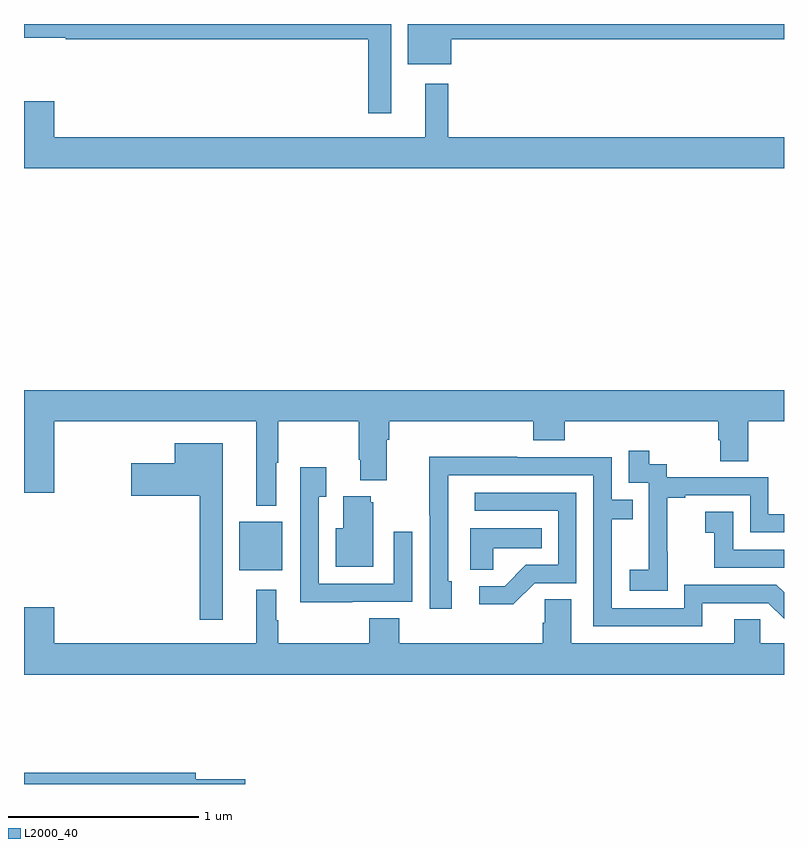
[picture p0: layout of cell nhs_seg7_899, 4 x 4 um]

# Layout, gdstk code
import gdstk
lib = gdstk.Library(unit=1e-6, precision=1e-09)
def R(c, l, rs):  # rectangles x0, y0, x1, y1
    for r in rs: c.add(gdstk.rectangle(r[:2], r[2:], *l))
def P(c, l, *ps):  # polygons
    for p in ps: c.add(gdstk.Polygon(p, *l))
L2000_40 = (2000, 40)

nhs_seg7_899 = lib.new_cell('nhs_seg7_899')
R(nhs_seg7_899, L2000_40, [(178.133,1041.125,178.36,1041.379)])
P(nhs_seg7_899, L2000_40, [(178.933,1044),(177,1044),(177,1043.928),(177.22,1043.928),(177.22,1043.92),(178.812,1043.92),(178.812,1043.529),(178.933,1043.529)],
  [(179.248,1043.92),(181,1043.92),(181,1044),(179.021,1044),(179.021,1043.789),(179.248,1043.789)],
  [(181,1043.404),(179.233,1043.404),(179.233,1043.686),(179.111,1043.686),(179.111,1043.404),(177.16,1043.404),(177.16,1043.593),(177,1043.593),(177,1043.24),(181,1043.24)],
  [(177,1041.534),(177.16,1041.534),(177.16,1041.908),(178.223,1041.908),(178.223,1041.464),(178.327,1041.464),(178.327,1041.692),(178.337,1041.692),(178.337,1041.908),(178.762,1041.908),(178.762,1041.706),(178.769,1041.706),(178.769,1041.599),(178.909,1041.599),(178.909,1041.812),(178.922,1041.812),(178.922,1041.908),(179.681,1041.908),(179.681,1041.809),(179.846,1041.809),(179.846,1041.908),(180.653,1041.908),(180.653,1041.81),(180.665,1041.81),(180.665,1041.7),(180.813,1041.7),(180.813,1041.908),(181,1041.908),(181,1042.072),(177,1042.072)],
  [(178.045,1041.793),(177.794,1041.793),(177.794,1041.688),(177.564,1041.688),(177.564,1041.518),(177.924,1041.518),(177.924,1040.865),(178.045,1040.865)],
  [(180.387,1041.223),(180.386,1041.223),(180.386,1041.507),(180.481,1041.507),(180.481,1041.519),(180.822,1041.519),(180.822,1041.324),(181,1041.324),(181,1041.42),(180.918,1041.42),(180.918,1041.615),(180.384,1041.615),(180.384,1041.684),(180.292,1041.684),(180.292,1041.754),(180.183,1041.754),(180.183,1041.585),(180.288,1041.585),(180.288,1041.356),(180.287,1041.356),(180.287,1041.127),(180.189,1041.127),(180.189,1041.017),(180.387,1041.017)],
  [(180.571,1040.952),(180.918,1040.952),(181,1040.87),(181,1041.008),(180.96,1041.048),(180.474,1041.048),(180.474,1040.925),(180.093,1040.925),(180.093,1041.394),(180.203,1041.394),(180.203,1041.495),(180.093,1041.495),(180.093,1041.72),(179.597,1041.72),(179.597,1041.722),(179.134,1041.722),(179.134,1041.415),(179.136,1041.415),(179.136,1040.922),(179.251,1040.922),(179.251,1041.066),(179.232,1041.066),(179.232,1041.624),(179.997,1041.624),(179.997,1040.829),(180.571,1040.829)],
  [(178.727,1040.958),(179.043,1040.958),(179.043,1041.328),(178.947,1041.328),(178.947,1041.054),(178.551,1041.054),(178.551,1041.511),(178.591,1041.511),(178.591,1041.667),(178.455,1041.667),(178.455,1040.957),(178.727,1040.957)],
  [(179.688,1041.057),(179.907,1041.057),(179.907,1041.534),(179.373,1041.534),(179.373,1041.438),(179.811,1041.438),(179.811,1041.153),(179.642,1041.153),(179.531,1041.042),(179.397,1041.042),(179.397,1040.945),(179.575,1040.945)],
  [(178.837,1041.483),(178.826,1041.483),(178.826,1041.514),(178.679,1041.514),(178.679,1041.346),(178.64,1041.346),(178.64,1041.143),(178.837,1041.143)],
  [(181,1041.234),(180.732,1041.234),(180.732,1041.433),(180.585,1041.433),(180.585,1041.323),(180.634,1041.323),(180.634,1041.138),(181,1041.138)],
  [(179.469,1041.242),(179.726,1041.242),(179.726,1041.346),(179.348,1041.346),(179.348,1041.127),(179.469,1041.127)],
  [(181,1040.74),(180.876,1040.74),(180.876,1040.867),(180.737,1040.867),(180.737,1040.74),(179.881,1040.74),(179.881,1040.972),(179.742,1040.972),(179.742,1040.849),(179.729,1040.849),(179.729,1040.74),(178.976,1040.74),(178.976,1040.873),(178.816,1040.873),(178.816,1040.74),(178.337,1040.74),(178.337,1040.861),(178.327,1040.861),(178.327,1041.022),(178.223,1041.022),(178.223,1040.74),(177.16,1040.74),(177.16,1040.929),(177,1040.929),(177,1040.576),(181,1040.576)],
  [(178.165,1040.024),(177.904,1040.024),(177.904,1040.06),(177,1040.06),(177,1040),(178.165,1040)])

lib.write_gds('nhs_seg7_899.gds')
